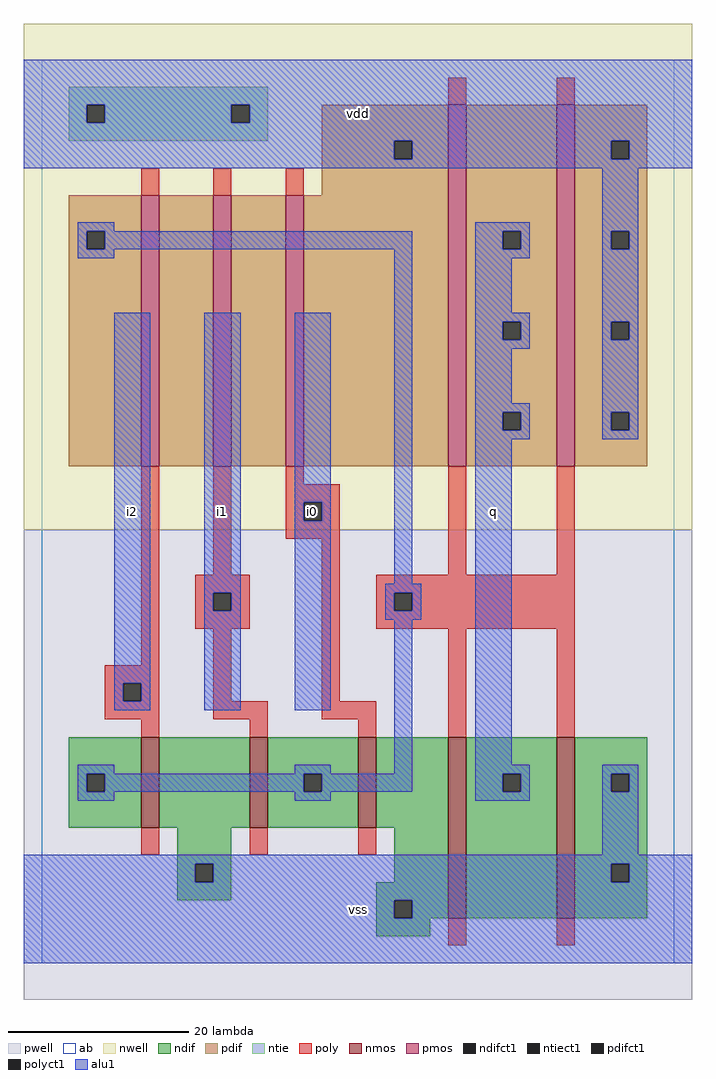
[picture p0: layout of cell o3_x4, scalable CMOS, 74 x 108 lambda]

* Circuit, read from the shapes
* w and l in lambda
.subckt o3_x4 i0 i1 i2 q vdd vss
M1 vss i2 n1 VSUBS nfet w=10 l=2
M2 n1 i1 vss VSUBS nfet w=10 l=2
M3 vss i0 n1 VSUBS nfet w=10 l=2
M4 q n1 vss VSUBS nfet w=20 l=2 m=2
M5 n2 i2 n1 vdd pfet w=30 l=2
M6 n3 i1 n2 vdd pfet w=30 l=2
M7 vdd i0 n3 vdd pfet w=30 l=2
M8 q n1 vdd vdd pfet w=40 l=2 m=2
.ends

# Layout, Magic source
magic
tech scmos
<< ab >>
rect 0 0 70 100
<< nwell >>
rect -2 48 72 104
<< pwell >>
rect -2 -4 72 48
<< poly >>
rect 45 95 47 98
rect 57 95 59 98
rect 11 85 13 88
rect 19 85 21 88
rect 27 85 29 88
rect 11 33 13 55
rect 19 43 21 55
rect 27 53 29 55
rect 27 51 33 53
rect 27 49 29 51
rect 31 49 33 51
rect 27 47 33 49
rect 17 41 23 43
rect 17 39 19 41
rect 21 39 23 41
rect 17 37 23 39
rect 7 31 13 33
rect 7 29 9 31
rect 11 29 13 31
rect 7 27 13 29
rect 19 29 21 37
rect 31 29 33 47
rect 45 43 47 55
rect 57 43 59 55
rect 37 41 59 43
rect 37 39 39 41
rect 41 39 59 41
rect 37 37 59 39
rect 19 27 25 29
rect 31 27 37 29
rect 11 25 13 27
rect 23 25 25 27
rect 35 25 37 27
rect 45 25 47 37
rect 57 25 59 37
rect 11 12 13 15
rect 23 12 25 15
rect 35 12 37 15
rect 45 2 47 5
rect 57 2 59 5
<< ndif >>
rect 3 21 11 25
rect 3 19 5 21
rect 7 19 11 21
rect 3 15 11 19
rect 13 15 23 25
rect 25 21 35 25
rect 25 19 29 21
rect 31 19 35 21
rect 25 15 35 19
rect 37 15 45 25
rect 15 11 21 15
rect 15 9 17 11
rect 19 9 21 11
rect 39 9 45 15
rect 15 7 21 9
rect 37 7 45 9
rect 37 5 39 7
rect 41 5 45 7
rect 47 21 57 25
rect 47 19 51 21
rect 53 19 57 21
rect 47 5 57 19
rect 59 21 67 25
rect 59 19 63 21
rect 65 19 67 21
rect 59 11 67 19
rect 59 9 63 11
rect 65 9 67 11
rect 59 5 67 9
rect 37 3 43 5
<< pdif >>
rect 31 91 45 95
rect 31 89 39 91
rect 41 89 45 91
rect 31 85 45 89
rect 3 81 11 85
rect 3 79 5 81
rect 7 79 11 81
rect 3 55 11 79
rect 13 55 19 85
rect 21 55 27 85
rect 29 55 45 85
rect 47 81 57 95
rect 47 79 51 81
rect 53 79 57 81
rect 47 71 57 79
rect 47 69 51 71
rect 53 69 57 71
rect 47 61 57 69
rect 47 59 51 61
rect 53 59 57 61
rect 47 55 57 59
rect 59 91 67 95
rect 59 89 63 91
rect 65 89 67 91
rect 59 81 67 89
rect 59 79 63 81
rect 65 79 67 81
rect 59 71 67 79
rect 59 69 63 71
rect 65 69 67 71
rect 59 61 67 69
rect 59 59 63 61
rect 65 59 67 61
rect 59 55 67 59
<< alu1 >>
rect -2 95 72 100
rect -2 93 5 95
rect 7 93 21 95
rect 23 93 72 95
rect -2 91 72 93
rect -2 89 39 91
rect 41 89 63 91
rect 65 89 72 91
rect -2 88 72 89
rect 4 81 8 82
rect 48 81 54 82
rect 4 79 5 81
rect 7 79 41 81
rect 4 78 8 79
rect 8 31 12 72
rect 8 29 9 31
rect 11 29 12 31
rect 8 28 12 29
rect 18 41 22 72
rect 18 39 19 41
rect 21 39 22 41
rect 18 28 22 39
rect 28 51 32 72
rect 28 49 29 51
rect 31 49 32 51
rect 28 28 32 49
rect 39 42 41 79
rect 48 79 51 81
rect 53 79 54 81
rect 48 78 54 79
rect 62 81 66 88
rect 62 79 63 81
rect 65 79 66 81
rect 48 72 52 78
rect 48 71 54 72
rect 48 69 51 71
rect 53 69 54 71
rect 48 68 54 69
rect 62 71 66 79
rect 62 69 63 71
rect 65 69 66 71
rect 48 62 52 68
rect 48 61 54 62
rect 48 59 51 61
rect 53 59 54 61
rect 48 58 54 59
rect 62 61 66 69
rect 62 59 63 61
rect 65 59 66 61
rect 62 58 66 59
rect 38 41 42 42
rect 38 39 39 41
rect 41 39 42 41
rect 38 38 42 39
rect 4 21 8 22
rect 28 21 32 22
rect 39 21 41 38
rect 4 19 5 21
rect 7 19 29 21
rect 31 19 41 21
rect 48 22 52 58
rect 48 21 54 22
rect 48 19 51 21
rect 53 19 54 21
rect 4 18 8 19
rect 28 18 32 19
rect 48 18 54 19
rect 62 21 66 22
rect 62 19 63 21
rect 65 19 66 21
rect 62 12 66 19
rect -2 11 72 12
rect -2 9 17 11
rect 19 9 63 11
rect 65 9 72 11
rect -2 7 72 9
rect -2 5 39 7
rect 41 5 72 7
rect -2 0 72 5
<< ntie >>
rect 3 95 25 97
rect 3 93 5 95
rect 7 93 21 95
rect 23 93 25 95
rect 3 91 25 93
<< nmos >>
rect 11 15 13 25
rect 23 15 25 25
rect 35 15 37 25
rect 45 5 47 25
rect 57 5 59 25
<< pmos >>
rect 11 55 13 85
rect 19 55 21 85
rect 27 55 29 85
rect 45 55 47 95
rect 57 55 59 95
<< polyct1 >>
rect 29 49 31 51
rect 19 39 21 41
rect 9 29 11 31
rect 39 39 41 41
<< ndifct1 >>
rect 5 19 7 21
rect 29 19 31 21
rect 17 9 19 11
rect 39 5 41 7
rect 51 19 53 21
rect 63 19 65 21
rect 63 9 65 11
<< ntiect1 >>
rect 5 93 7 95
rect 21 93 23 95
<< pdifct1 >>
rect 39 89 41 91
rect 5 79 7 81
rect 51 79 53 81
rect 51 69 53 71
rect 51 59 53 61
rect 63 89 65 91
rect 63 79 65 81
rect 63 69 65 71
rect 63 59 65 61
<< labels >>
rlabel alu1 10 50 10 50 6 i2
rlabel polyct1 30 50 30 50 6 i0
rlabel alu1 20 50 20 50 6 i1
rlabel alu1 35 6 35 6 6 vss
rlabel alu1 50 50 50 50 6 q
rlabel alu1 35 94 35 94 6 vdd
<< end >>
